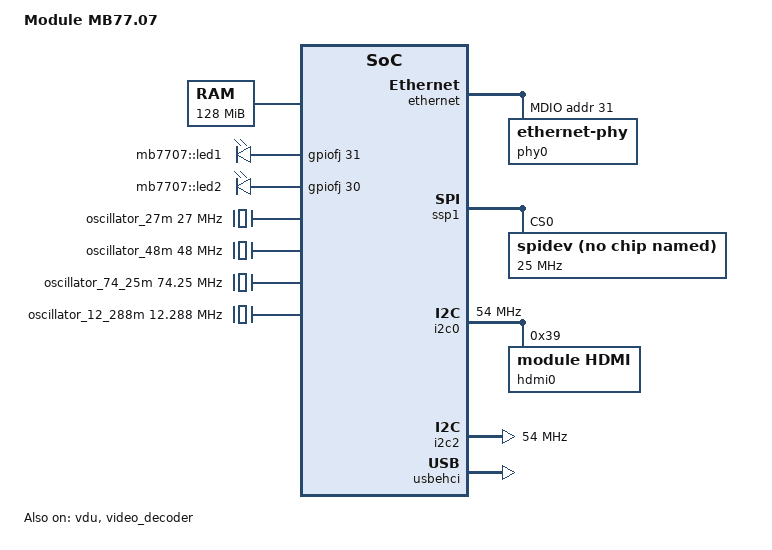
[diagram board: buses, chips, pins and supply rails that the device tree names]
/*
 * Copyright Promwad inc(C) 2011
 *
 * Michail Kurachkin <stelhs@ya.ru>
 *
 * This program is free software; you can redistribute it and/or modify
 * it under the terms of the GNU General Public License as published by
 * the Free Software Foundation; either version 2 of the License, or
 * (at your option) any later version.
 *
 * This program is distributed in the hope that it will be useful,
 * but WITHOUT ANY WARRANTY; without even the implied warranty of
 * MERCHANTABILITY or FITNESS FOR A PARTICULAR PURPOSE.  See the
 * GNU General Public License for more details.
 *
 * You should have received a copy of the GNU General Public License
 * along with this program; if not, write to the Free Software
 * Foundation, Inc., 59 Temple Place, Suite 330, Boston, MA  02111-1307  USA
 */

/dts-v1/;
/include/ "rcm-k1879.dtsi"
/ {
	model = "Module MB77.07";
	compatible = "module,mb7707";

	memory {
		device_type = "memory";
		reg = <0x40000000 0x8000000>;
	};

	chosen {
		bootargs = "console=ttyS0,38400n8 earlyprintk=serial root=/dev/sdc rootwait";
	};

	leds {
	     compatible = "gpio-leds";
	     one {
	     	  label = "mb7707::led1";
		  gpios = <&gpiofj 31 0>; /* LED1 */
		  linux,default-trigger = "heartbeat";
	     };
	     two {
		  label = "mb7707::led2";
		  gpios = <&gpiofj 30 0>; /* LED2 */
		  default-state = "off";
	     };
        };

	clocks {

			oscillator_27m: oscillator@27M {
				/* On-board crystal, 27MHz clock */
				compatible = "fixed-clock";
				#clock-cells = <0>;
				clock-frequency = <27000000>;
				clock-accuracy = <0>;
				clock-output-names = "clk_27m";
			};

			oscillator_48m: oscillator@48M {
				/* On-board crystal, 48MHz clock */
				compatible = "fixed-clock";
				#clock-cells = <0>;
				clock-frequency = <48000000>;
				clock-output-names = "clk_48m";
			};

			oscillator_74_25m: oscillator@74M {
				/* On-board crystal, 74.25MHz clock */
				compatible = "fixed-clock";
				#clock-cells = <0>;
				clock-frequency = <74250000>;
				clock-output-names = "clk_74m";
			};

			oscillator_12_288m: oscillator@12M {
				/* On-board crystal, 12.288MHz clock */
				compatible = "fixed-clock";
				#clock-cells = <0>;
				clock-frequency = <12288000>;
				clock-output-names = "clk_12m";
			};
		};

	axi {

		pinmux: sysconfigh@0x20033084 {
			settings = <0 0 0 1>; // DVB, TS1, TS2, NAND; 0 = GPIO, 1 = peripheral
		};

		apb_d {

			ethernet: greth@4000 {
				local-mac-address = [ 00 02 f7 00 27 0f ];
				status = "okay";
				mdio {
					phy0: ethernet-phy@0 {
						reg = <0x1f>;
					};
				};
			};
		};		
	};
};

&ssp1 {
	status = "okay";
	spidev@0 {
		compatible = "spidev";
		reg = <0>;
		spi-max-frequency = <25000000>;
		spi-cpha;
		pl022,hierarchy = <0>;
		pl022,interface = <0>;
		pl022,slave-tx-disable;
		pl022,com-mode = <0x1>; /* polling mode */
		pl022,rx-level-trig = <0>;
		pl022,tx-level-trig = <0>;
		pl022,ctrl-len = <0x11>;
		pl022,wait-state = <0>;
		pl022,duplex = <0>;
	};
};


&i2c0 {
	status = "okay";
	speed = <100000>;
	clock-frequency = <54000000>;
	hdmi0: hdmi@39 {
		compatible = "module,hdmi";
		reg = <0x39>;
	};
};

&i2c2 {
	status = "okay";
	speed = <100000>;
	clock-frequency = <54000000>;
};

&vdu {
	status = "okay";
};

&sound {
	status = "okay";
	maudio,model = "Module MB7707";
};

&usbehci {
	status = "okay";
};

&video_decoder {
	status = "okay";
};

